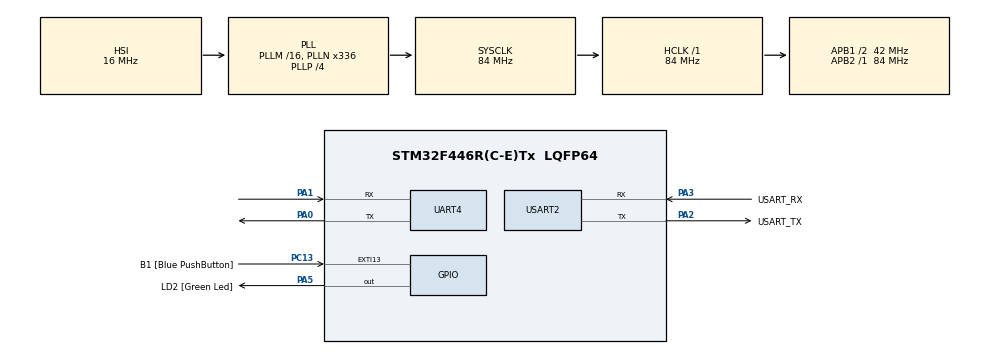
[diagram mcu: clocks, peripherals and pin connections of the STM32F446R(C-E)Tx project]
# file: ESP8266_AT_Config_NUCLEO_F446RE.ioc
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Mcu.Family=STM32F4
Mcu.Name=STM32F446R(C-E)Tx
Mcu.Package=LQFP64
NVIC.PriorityGroup=NVIC_PRIORITYGROUP_0
NVIC.UART4_IRQn=true\:0\:0\:false\:false\:true\:true\:true\:true
NVIC.USART2_IRQn=true\:0\:0\:false\:false\:true\:true\:true\:true
PA0-WKUP.Mode=Asynchronous
PA0-WKUP.Signal=UART4_TX
PA1.Mode=Asynchronous
PA1.Signal=UART4_RX
PA13.GPIO_Label=TMS
PA13.Mode=Serial_Wire
PA13.Signal=SYS_JTMS-SWDIO
PA14.GPIO_Label=TCK
PA14.Mode=Serial_Wire
PA14.Signal=SYS_JTCK-SWCLK
PA2.GPIO_Label=USART_TX
PA2.Mode=Asynchronous
PA2.Signal=USART2_TX
PA3.GPIO_Label=USART_RX
PA3.Mode=Asynchronous
PA3.Signal=USART2_RX
PA5.GPIO_Label=LD2 [Green Led]
PA5.Signal=GPIO_Output
PB3.GPIO_Label=SWO
PB3.Signal=SYS_JTDO-SWO
PC13.GPIO_Label=B1 [Blue PushButton]
PC13.GPIO_ModeDefaultEXTI=GPIO_MODE_IT_FALLING
PC13.Signal=GPXTI13
PC14-OSC32_IN.Mode=LSE-External-Oscillator
PC14-OSC32_IN.Signal=RCC_OSC32_IN
PC15-OSC32_OUT.Mode=LSE-External-Oscillator
PC15-OSC32_OUT.Signal=RCC_OSC32_OUT
PH0-OSC_IN.Mode=HSE-External-Oscillator
PH0-OSC_IN.Signal=RCC_OSC_IN
PH1-OSC_OUT.Mode=HSE-External-Oscillator
PH1-OSC_OUT.Signal=RCC_OSC_OUT
ProjectManager.HeapSize=0x200
ProjectManager.StackSize=0x400
ProjectManager.TargetToolchain=STM32CubeIDE
RCC.48MHZClocksFreq_Value=84000000
RCC.AHBFreq_Value=84000000
RCC.APB1CLKDivider=RCC_HCLK_DIV2
RCC.APB1Freq_Value=42000000
RCC.APB1TimFreq_Value=84000000
RCC.APB2Freq_Value=84000000
RCC.APB2TimFreq_Value=84000000
RCC.CortexFreq_Value=84000000
RCC.FLatency-AdvancedSettings=FLASH_LATENCY_2
RCC.HCLKFreq_Value=84000000
RCC.HSE_VALUE=8000000
RCC.HSI_VALUE=16000000
RCC.PLLN=336
RCC.PLLP=RCC_PLLP_DIV4
RCC.SYSCLKFreq_VALUE=84000000
RCC.SYSCLKSource=RCC_SYSCLKSOURCE_PLLCLK
RCC.USBFreq_Value=168000000
RCC.VCOOutputFreq_Value=336000000
UART4.VirtualMode=Asynchronous
USART2.VirtualMode=VM_ASYNC
board=NUCLEO-F446RE

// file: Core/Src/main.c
/* USER CODE BEGIN Header */
/**
  ******************************************************************************
  * @file           : main.c
  * @brief          : Programa principal para configurar un módulo ESP8266
  *                   mediante comandos AT y crear un servidor web embebido
  *                   controlado por una placa STM32F446RE.
  *
  *                   El firmware utiliza USART2 para la comunicación con la PC
  *                   mediante una terminal serie, y UART4 para el intercambio
  *                   de comandos y datos con el ESP8266. El módulo ESP8266 se
  *                   configura como punto de acceso Wi-Fi y servidor TCP en el
  *                   puerto 80. Las solicitudes HTTP recibidas desde un navegador
  *                   son interpretadas por el STM32 para controlar el LED LD2 y
  *                   generar una respuesta HTML.
  ******************************************************************************
  * @attention
  *
  * Copyright (c) 2026 STMicroelectronics.
  * All rights reserved.
  *
  * This software is licensed under terms that can be found in the LICENSE file
  * in the root directory of this software component.
  * If no LICENSE file comes with this software, it is provided AS-IS.
  *
  ******************************************************************************
  */
/* USER CODE END Header */
#include "main.h"

/* USER CODE BEGIN Includes */
#include <stdio.h>
#include <string.h>
/* USER CODE END Includes */

/* USER CODE BEGIN PD */
#define PC_RX_SIZE          128U
#define ESP_RX_SIZE         1024U
#define ESP_AT_EOL          "\r\n"

#define HTTP_BODY_SIZE        768U
#define HTTP_RESPONSE_SIZE    1200U
#define HTTP_CMD_SIZE         64U
/* USER CODE END PD */

UART_HandleTypeDef huart4;
UART_HandleTypeDef huart2;

/* USER CODE BEGIN PV */
static uint8_t pc_rx_buffer[PC_RX_SIZE];
static uint8_t esp_rx_buffer[ESP_RX_SIZE];

static char pc_command[PC_RX_SIZE];
static char esp_message[ESP_RX_SIZE];

static volatile uint8_t pc_command_ready = 0U;
static volatile uint8_t esp_message_ready = 0U;

static uint8_t led_state = 0U;

static char http_body[HTTP_BODY_SIZE];
static char http_response[HTTP_RESPONSE_SIZE];
static char http_cmd[HTTP_CMD_SIZE];
/* USER CODE END PV */

void SystemClock_Config(void);
static void MX_GPIO_Init(void);
static void MX_USART2_UART_Init(void);
static void MX_UART4_Init(void);
/* USER CODE BEGIN PFP */
static void PC_Print(const char *msg);
static void ESP_SendRaw(const char *msg);
static void ESP_SendAT(const char *cmd);

static void ProcessPcCommand(const char *cmd);
static void ProcessEspMessage(const char *msg);

static void ESP8266_ConfigSoftAP(void);
static void ESP8266_ServerOn(void);
static void ESP8266_ServerOff(void);

static void ESP8266_HandleHttpRequest(const char *msg);
static void ESP8266_SendHttpResponse(uint8_t link_id, const char *body);
static void BuildHomePage(char *body, size_t size, const char *message);

static void TrimLine(char *str);
/* USER CODE END PFP */

/* USER CODE BEGIN 0 */
static void PC_Print(const char *msg)
{
    HAL_UART_Transmit(&huart2,
                      (uint8_t *)msg,
                      strlen(msg),
                      HAL_MAX_DELAY);
}

static void ESP_SendRaw(const char *msg)
{
    HAL_UART_Transmit(&huart4,
                      (uint8_t *)msg,
                      strlen(msg),
                      HAL_MAX_DELAY);
}

static void ESP_SendAT(const char *cmd)
{
    ESP_SendRaw(cmd);
    ESP_SendRaw(ESP_AT_EOL);
}

static void TrimLine(char *str)
{
    size_t len = strlen(str);

    while ((len > 0U) &&
           ((str[len - 1U] == '\r') ||
            (str[len - 1U] == '\n') ||
            (str[len - 1U] == ' ')))
    {
        str[len - 1U] = '\0';
        len--;
    }
}

//Callback de recepción UART por interrupción
void HAL_UARTEx_RxEventCallback(UART_HandleTypeDef *huart, uint16_t Size)
{
    if (huart->Instance == USART2)
    {
        if (Size >= PC_RX_SIZE)
        {
            Size = PC_RX_SIZE - 1U;
        }

        memcpy(pc_command, pc_rx_buffer, Size);
        pc_command[Size] = '\0';
        TrimLine(pc_command);

        pc_command_ready = 1U;

        HAL_UARTEx_ReceiveToIdle_IT(&huart2,
                                    pc_rx_buffer,
                                    PC_RX_SIZE);
    }

    else if (huart->Instance == UART4)
    {
        if (Size >= ESP_RX_SIZE)
        {
            Size = ESP_RX_SIZE - 1U;
        }

        memcpy(esp_message, esp_rx_buffer, Size);
        esp_message[Size] = '\0';

        esp_message_ready = 1U;

        HAL_UARTEx_ReceiveToIdle_IT(&huart4,
                                    esp_rx_buffer,
                                    ESP_RX_SIZE);
    }
}
//Procesamiento de comandos desde Cutecom
static void ProcessPcCommand(const char *cmd)
{
    if (strlen(cmd) == 0U)
    {
        return;
    }

    PC_Print("[PC] ");
    PC_Print(cmd);
    PC_Print("\r\n");

    if (strcmp(cmd, "HELP") == 0)
    {
        PC_Print("\r\nComandos disponibles:\r\n");
        PC_Print("HELP\r\n");
        PC_Print("AT\r\n");
        PC_Print("AT+GMR\r\n");
        PC_Print("AT+CWMODE?\r\n");
        PC_Print("AT+CIPAP?\r\n");
        PC_Print("WIFI_AP\r\n");
        PC_Print("SERVER_ON\r\n");
        PC_Print("SERVER_OFF\r\n");
        PC_Print("IP\r\n");
        PC_Print("\r\n");
        PC_Print("Tambien puede enviar cualquier comando AT directamente.\r\n");
        PC_Print("Ejemplo: AT+CWLAP\r\n\r\n");
    }

    else if (strcmp(cmd, "WIFI_AP") == 0)
    {
        ESP8266_ConfigSoftAP();
    }

    else if (strcmp(cmd, "SERVER_ON") == 0)
    {
        ESP8266_ServerOn();
    }

    else if (strcmp(cmd, "SERVER_OFF") == 0)
    {
        ESP8266_ServerOff();
    }

    else if (strcmp(cmd, "IP") == 0)
    {
        PC_Print("[STM32 -> ESP8266] AT+CIPAP?\r\n");
        ESP_SendAT("AT+CIPAP?");
    }

    else if (strncmp(cmd, "AT", 2U) == 0)
    {
        PC_Print("[STM32 -> ESP8266] ");
        PC_Print(cmd);
        PC_Print(" + CRLF\r\n");

        ESP_SendAT(cmd);
    }

    else
    {
        PC_Print("Comando no reconocido. Escriba HELP.\r\n");
    }
}

//Procesamiento de mensajes recibidos desde el ESP8266
static void ProcessEspMessage(const char *msg)
{
	 if (strlen(msg) == 0U)
	    {
	        return;
	    }

	    PC_Print("[ESP8266 -> STM32]\r\n");
	    PC_Print(msg);
	    PC_Print("\r\n");

	    /*
	     * Si el ESP8266 informa datos recibidos desde la red,
	     * el mensaje contiene +IPD.
	     *
	     * Ejemplo:
	     * +IPD,0,439:GET / HTTP/1.1
	     */
	    if (strstr(msg, "+IPD,") != NULL)
	    {
	        ESP8266_HandleHttpRequest(msg);
	    }
}

static void ESP8266_HandleHttpRequest(const char *msg)
{
    const char *ipd_ptr;
    const char *payload_ptr;
    int link_id = 0;
    int length = 0;

    ipd_ptr = strstr(msg, "+IPD,");

    if (ipd_ptr == NULL)
    {
        return;
    }

    if (sscanf(ipd_ptr, "+IPD,%d,%d:", &link_id, &length) != 2)
    {
        PC_Print("[ERROR] No se pudo interpretar el encabezado +IPD.\r\n");
        return;
    }

    payload_ptr = strchr(ipd_ptr, ':');

    if (payload_ptr == NULL)
    {
        PC_Print("[ERROR] No se encontro el inicio del payload HTTP.\r\n");
        return;
    }

    payload_ptr++;

    PC_Print("[HTTP] Solicitud recibida.\r\n");

    if (strstr(payload_ptr, "GET /on ") != NULL)
    {
        HAL_GPIO_WritePin(LD2_GPIO_Port, LD2_Pin, GPIO_PIN_SET);
        led_state = 1U;

        BuildHomePage(http_body,
                      sizeof(http_body),
                      "LED encendido");
    }

    else if (strstr(payload_ptr, "GET /off ") != NULL)
    {
        HAL_GPIO_WritePin(LD2_GPIO_Port, LD2_Pin, GPIO_PIN_RESET);
        led_state = 0U;

        BuildHomePage(http_body,
                      sizeof(http_body),
                      "LED apagado");
    }

    else if (strstr(payload_ptr, "GET /toggle ") != NULL)
    {
        HAL_GPIO_TogglePin(LD2_GPIO_Port, LD2_Pin);
        led_state = !led_state;

        BuildHomePage(http_body,
                      sizeof(http_body),
                      "LED invertido");
    }

    else if (strstr(payload_ptr, "GET /status ") != NULL)
    {
        if (led_state != 0U)
        {
            BuildHomePage(http_body,
                          sizeof(http_body),
                          "Estado actual: LED encendido");
        }
        else
        {
            BuildHomePage(http_body,
                          sizeof(http_body),
                          "Estado actual: LED apagado");
        }
    }

    else
    {
        BuildHomePage(http_body,
                      sizeof(http_body),
                      "Servidor web STM32 + ESP8266");
    }

    ESP8266_SendHttpResponse((uint8_t)link_id, http_body);
}

static void BuildHomePage(char *body, size_t size, const char *message)
{
    const char *led_text;

    if (led_state != 0U)
    {
        led_text = "ENCENDIDO";
    }
    else
    {
        led_text = "APAGADO";
    }

    snprintf(body,
             size,
             "<!DOCTYPE html>"
             "<html>"
             "<head>"
             "<meta charset=\"UTF-8\">"
             "<meta name=\"viewport\" content=\"width=device-width, initial-scale=1.0\">"
             "<title>STM32 Web Server</title>"
             "<style>"
             "body{font-family:Arial;text-align:center;margin-top:40px;}"
             "a{display:block;margin:12px auto;padding:12px;width:200px;"
             "background:#eeeeee;text-decoration:none;color:#000;border-radius:8px;}"
             "</style>"
             "</head>"
             "<body>"
             "<h1>Servidor web embebido</h1>"
             "<h2>STM32F446RE + ESP8266</h2>"
             "<p><strong>%s</strong></p>"
             "<p>Estado del LED: <strong>%s</strong></p>"
             "<a href=\"/on\">Encender LED</a>"
             "<a href=\"/off\">Apagar LED</a>"
             "<a href=\"/toggle\">Invertir LED</a>"
             "<a href=\"/status\">Consultar estado</a>"
             "</body>"
             "</html>",
             message,
             led_text);
}

static void ESP8266_SendHttpResponse(uint8_t link_id, const char *body)
{
    int body_len;
    int response_len;

    body_len = strlen(body);

    response_len = snprintf(http_response,
                            sizeof(http_response),
                            "HTTP/1.1 200 OK\r\n"
                            "Content-Type: text/html; charset=utf-8\r\n"
                            "Connection: close\r\n"
                            "Content-Length: %d\r\n"
                            "\r\n"
                            "%s",
                            body_len,
                            body);

    if ((response_len <= 0) ||
        (response_len >= (int)sizeof(http_response)))
    {
        PC_Print("[ERROR] La respuesta HTTP supera el buffer disponible.\r\n");
        return;
    }

    snprintf(http_cmd,
             sizeof(http_cmd),
             "AT+CIPSEND=%u,%d",
             link_id,
             response_len);

    PC_Print("[STM32 -> ESP8266] ");
    PC_Print(http_cmd);
    PC_Print("\r\n");

    ESP_SendAT(http_cmd);

    /*
     * Para esta primera version didactica usamos un retardo simple.
     * El ESP8266 normalmente responde con '>' indicando que esta listo
     * para recibir los datos.
     */
    HAL_Delay(300);

    PC_Print("[STM32 -> ESP8266] Enviando respuesta HTTP\r\n");

    ESP_SendRaw(http_response);

    HAL_Delay(500);

    snprintf(http_cmd,
             sizeof(http_cmd),
             "AT+CIPCLOSE=%u",
             link_id);

    PC_Print("[STM32 -> ESP8266] ");
    PC_Print(http_cmd);
    PC_Print("\r\n");

    ESP_SendAT(http_cmd);
}

//Configurar ESP8266 como Access Point
static void ESP8266_ConfigSoftAP(void)
{
    PC_Print("\r\nConfigurando ESP8266 como Access Point...\r\n");

    PC_Print("[STM32 -> ESP8266] AT\r\n");
    ESP_SendAT("AT");
    HAL_Delay(1000);

    PC_Print("[STM32 -> ESP8266] ATE0\r\n");
    ESP_SendAT("ATE0");
    HAL_Delay(1000);

    PC_Print("[STM32 -> ESP8266] AT+CWMODE=2\r\n");
    ESP_SendAT("AT+CWMODE=2");
    HAL_Delay(1500);

    PC_Print("[STM32 -> ESP8266] AT+CWSAP=\"STM32_WEB\",\"12345678\",5,3\r\n");
    ESP_SendAT("AT+CWSAP=\"STM32_WEB\",\"12345678\",5,3");
    HAL_Delay(2000);

    PC_Print("[STM32 -> ESP8266] AT+CIPAP?\r\n");
    ESP_SendAT("AT+CIPAP?");
    HAL_Delay(1000);

    PC_Print("\r\nRed Wi-Fi creada.\r\n");
    PC_Print("SSID: STM32_WEB\r\n");
    PC_Print("Password: 12345678\r\n");
    PC_Print("Conectar el smartphone a esta red.\r\n\r\n");
}
//Encender y apagar el servidor TCP
static void ESP8266_ServerOn(void)
{
    PC_Print("\r\nHabilitando servidor TCP en puerto 80...\r\n");

    PC_Print("[STM32 -> ESP8266] AT+CIPSERVER=0\r\n");
    ESP_SendAT("AT+CIPSERVER=0");
    HAL_Delay(1000);

    PC_Print("[STM32 -> ESP8266] AT+CIPMUX=1\r\n");
    ESP_SendAT("AT+CIPMUX=1");
    HAL_Delay(1000);

    PC_Print("[STM32 -> ESP8266] AT+CIPSERVER=1,80\r\n");
    ESP_SendAT("AT+CIPSERVER=1,80");
    HAL_Delay(1000);

    PC_Print("\r\nServidor TCP habilitado en puerto 80.\r\n");
    PC_Print("Conectar el smartphone a la red STM32_WEB.\r\n");
    PC_Print("Abrir desde el navegador: http://192.168.4.1/\r\n\r\n");
}

static void ESP8266_ServerOff(void)
{
    PC_Print("\r\nApagando servidor TCP...\r\n");

    PC_Print("[STM32 -> ESP8266] AT+CIPSERVER=0\r\n");
    ESP_SendAT("AT+CIPSERVER=0");
    HAL_Delay(1000);

    PC_Print("Servidor TCP apagado.\r\n\r\n");
}

/* USER CODE END 0 */

int main(void)
{

  /* MCU Configuration--------------------------------------------------------*/

  /* Reset of all peripherals, Initializes the Flash interface and the Systick. */
  HAL_Init();

  /* Configure the system clock */
  SystemClock_Config();

  /* Initialize all configured peripherals */
  MX_GPIO_Init();
  MX_USART2_UART_Init();
  MX_UART4_Init();
  /* USER CODE BEGIN 2 */

  PC_Print("\r\n====================================\r\n");
  PC_Print("Practica ESP8266 + STM32F446RE\r\n");
  PC_Print("Servidor web embebido HTTP\r\n");
  PC_Print("USART2: Cutecom / PC\r\n");
  PC_Print("UART4 : ESP8266\r\n");
  PC_Print("====================================\r\n");
  PC_Print("Escriba HELP para ver comandos.\r\n\r\n");

  HAL_UARTEx_ReceiveToIdle_IT(&huart2,
                              pc_rx_buffer,
                              PC_RX_SIZE);

  HAL_UARTEx_ReceiveToIdle_IT(&huart4,
                              esp_rx_buffer,
                              ESP_RX_SIZE);
  /* USER CODE END 2 */

  /* Infinite loop */
  while (1)
  {

    /* USER CODE BEGIN 3 */
	  if (pc_command_ready != 0U)
	  {
	      pc_command_ready = 0U;

	      ProcessPcCommand(pc_command);

	      memset(pc_command, 0, sizeof(pc_command));
	  }

	  if (esp_message_ready != 0U)
	  {
	      esp_message_ready = 0U;

	      ProcessEspMessage(esp_message);

	      memset(esp_message, 0, sizeof(esp_message));
	  }
  }
  /* USER CODE END 3 */
}

void SystemClock_Config(void)
{
  RCC_OscInitTypeDef RCC_OscInitStruct = {0};
  RCC_ClkInitTypeDef RCC_ClkInitStruct = {0};

  /** Configure the main internal regulator output voltage
  */
  __HAL_RCC_PWR_CLK_ENABLE();
  __HAL_PWR_VOLTAGESCALING_CONFIG(PWR_REGULATOR_VOLTAGE_SCALE3);

  /** Initializes the RCC Oscillators according to the specified parameters
  * in the RCC_OscInitTypeDef structure.
  */
  RCC_OscInitStruct.OscillatorType = RCC_OSCILLATORTYPE_HSI;
  RCC_OscInitStruct.HSIState = RCC_HSI_ON;
  RCC_OscInitStruct.HSICalibrationValue = RCC_HSICALIBRATION_DEFAULT;
  RCC_OscInitStruct.PLL.PLLState = RCC_PLL_ON;
  RCC_OscInitStruct.PLL.PLLSource = RCC_PLLSOURCE_HSI;
  RCC_OscInitStruct.PLL.PLLM = 16;
  RCC_OscInitStruct.PLL.PLLN = 336;
  RCC_OscInitStruct.PLL.PLLP = RCC_PLLP_DIV4;
  RCC_OscInitStruct.PLL.PLLQ = 2;
  RCC_OscInitStruct.PLL.PLLR = 2;
  if (HAL_RCC_OscConfig(&RCC_OscInitStruct) != HAL_OK)
  {
    Error_Handler();
  }

  /** Initializes the CPU, AHB and APB buses clocks
  */
  RCC_ClkInitStruct.ClockType = RCC_CLOCKTYPE_HCLK|RCC_CLOCKTYPE_SYSCLK
                              |RCC_CLOCKTYPE_PCLK1|RCC_CLOCKTYPE_PCLK2;
  RCC_ClkInitStruct.SYSCLKSource = RCC_SYSCLKSOURCE_PLLCLK;
  RCC_ClkInitStruct.AHBCLKDivider = RCC_SYSCLK_DIV1;
  RCC_ClkInitStruct.APB1CLKDivider = RCC_HCLK_DIV2;
  RCC_ClkInitStruct.APB2CLKDivider = RCC_HCLK_DIV1;

  if (HAL_RCC_ClockConfig(&RCC_ClkInitStruct, FLASH_LATENCY_2) != HAL_OK)
  {
    Error_Handler();
  }
}

static void MX_UART4_Init(void)
{

  huart4.Instance = UART4;
  huart4.Init.BaudRate = 115200;
  huart4.Init.WordLength = UART_WORDLENGTH_8B;
  huart4.Init.StopBits = UART_STOPBITS_1;
  huart4.Init.Parity = UART_PARITY_NONE;
  huart4.Init.Mode = UART_MODE_TX_RX;
  huart4.Init.HwFlowCtl = UART_HWCONTROL_NONE;
  huart4.Init.OverSampling = UART_OVERSAMPLING_16;
  if (HAL_UART_Init(&huart4) != HAL_OK)
  {
    Error_Handler();
  }

}

static void MX_USART2_UART_Init(void)
{

  huart2.Instance = USART2;
  huart2.Init.BaudRate = 115200;
  huart2.Init.WordLength = UART_WORDLENGTH_8B;
  huart2.Init.StopBits = UART_STOPBITS_1;
  huart2.Init.Parity = UART_PARITY_NONE;
  huart2.Init.Mode = UART_MODE_TX_RX;
  huart2.Init.HwFlowCtl = UART_HWCONTROL_NONE;
  huart2.Init.OverSampling = UART_OVERSAMPLING_16;
  if (HAL_UART_Init(&huart2) != HAL_OK)
  {
    Error_Handler();
  }

}

static void MX_GPIO_Init(void)
{
  GPIO_InitTypeDef GPIO_InitStruct = {0};

  /* GPIO Ports Clock Enable */
  __HAL_RCC_GPIOC_CLK_ENABLE();
  __HAL_RCC_GPIOH_CLK_ENABLE();
  __HAL_RCC_GPIOA_CLK_ENABLE();
  __HAL_RCC_GPIOB_CLK_ENABLE();

  /*Configure GPIO pin Output Level */
  HAL_GPIO_WritePin(LD2_GPIO_Port, LD2_Pin, GPIO_PIN_RESET);

  /*Configure GPIO pin : B1_Pin */
  GPIO_InitStruct.Pin = B1_Pin;
  GPIO_InitStruct.Mode = GPIO_MODE_IT_FALLING;
  GPIO_InitStruct.Pull = GPIO_NOPULL;
  HAL_GPIO_Init(B1_GPIO_Port, &GPIO_InitStruct);

  /*Configure GPIO pin : LD2_Pin */
  GPIO_InitStruct.Pin = LD2_Pin;
  GPIO_InitStruct.Mode = GPIO_MODE_OUTPUT_PP;
  GPIO_InitStruct.Pull = GPIO_NOPULL;
  GPIO_InitStruct.Speed = GPIO_SPEED_FREQ_LOW;
  HAL_GPIO_Init(LD2_GPIO_Port, &GPIO_InitStruct);

}

void Error_Handler(void)
{
  __disable_irq();
  while (1)
  {
  }
}
